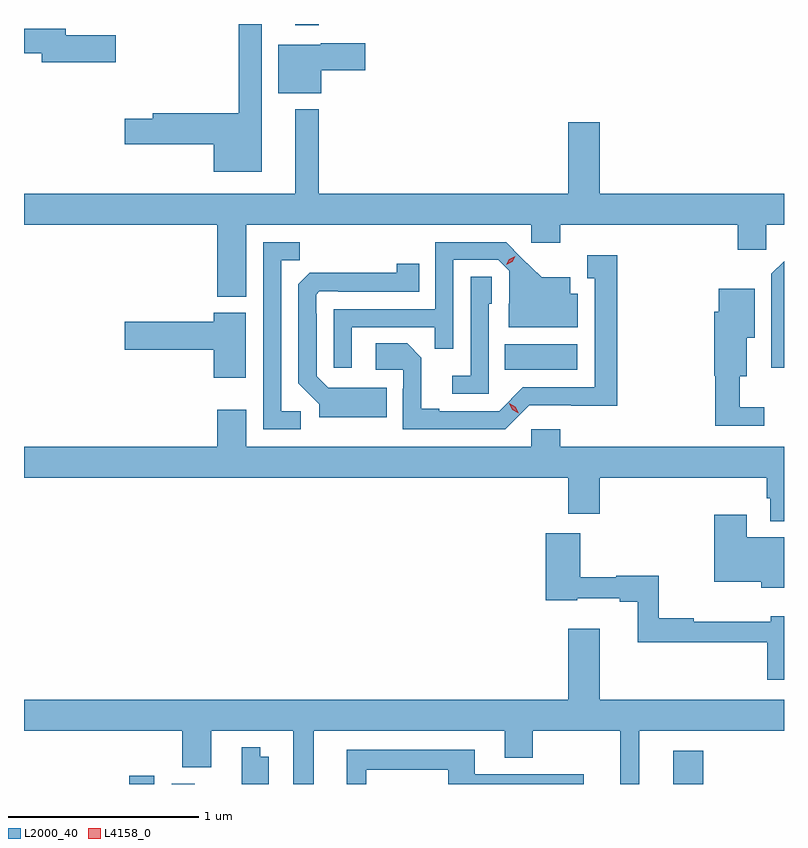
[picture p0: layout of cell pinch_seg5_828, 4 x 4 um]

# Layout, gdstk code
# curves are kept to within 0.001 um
import gdstk
lib = gdstk.Library(unit=1e-6, precision=1e-09)
def R(c, l, rs):  # rectangles x0, y0, x1, y1
    for r in rs: c.add(gdstk.rectangle(r[:2], r[2:], *l))
def P(c, l, *ps):  # polygons
    for p in ps: c.add(gdstk.Polygon(p, *l))
L2000_40 = (2000, 40)
L4158_0 = (4158, 0)

pinch_seg5_828 = lib.new_cell('pinch_seg5_828')
R(pinch_seg5_828, L2000_40, [(786.074,873.797,786.205,873.841), (786.296,873.797,786.418,873.799), (788.936,873.797,789.095,873.973), (788.05,875.978,788.431,876.112), (786.947,877.791,787.069,877.797)])
P(pinch_seg5_828, L2000_40, [(786.769,877.797),(786.648,877.797),(786.648,877.328),(786.197,877.328),(786.197,877.298),(786.048,877.298),(786.048,877.163),(786.518,877.163),(786.518,877.019),(786.769,877.019)],
  [(786.001,877.737),(785.74,877.737),(785.74,877.771),(785.519,877.771),(785.519,877.642),(785.612,877.642),(785.612,877.595),(786.001,877.595)],
  [(787.084,877.553),(787.315,877.553),(787.315,877.695),(787.08,877.695),(787.08,877.687),(786.857,877.687),(786.857,877.433),(787.084,877.433)],
  [(786.688,876.74),(788.19,876.74),(788.19,876.645),(788.342,876.645),(788.342,876.74),(789.275,876.74),(789.275,876.609),(789.426,876.609),(789.426,876.74),(789.519,876.74),(789.519,876.904),(788.548,876.904),(788.548,877.279),(788.384,877.279),(788.384,876.904),(787.069,876.904),(787.069,877.348),(786.947,877.348),(786.947,876.904),(785.519,876.904),(785.519,876.74),(786.536,876.74),(786.536,876.362),(786.688,876.362)],
  [(787.245,876.201),(787.681,876.201),(787.681,876.088),(787.779,876.088),(787.779,876.555),(788.016,876.555),(788.073,876.498),(788.073,876.324),(788.069,876.324),(788.069,876.2),(788.434,876.2),(788.434,876.376),(788.395,876.376),(788.395,876.463),(788.243,876.463),(788.056,876.648),(787.683,876.648),(787.683,876.297),(787.149,876.297),(787.149,875.988),(787.245,875.988)],
  [(786.976,875.76),(786.873,875.76),(786.873,876.553),(786.969,876.553),(786.969,876.648),(786.777,876.648),(786.777,875.664),(786.976,875.664)],
  [(788.178,875.79),(788.641,875.789),(788.641,876.58),(788.483,876.58),(788.483,876.459),(788.522,876.459),(788.522,875.886),(788.145,875.886),(788.019,875.76),(787.705,875.76),(787.705,875.773),(787.611,875.773),(787.611,876.04),(787.535,876.116),(787.371,876.116),(787.371,875.976),(787.515,875.976),(787.515,875.876),(787.512,875.876),(787.512,875.664),(788.052,875.664)],
  [(789.519,876.549),(789.453,876.483),(789.453,875.988),(789.519,875.988)],
  [(787.427,875.883),(787.119,875.883),(787.059,875.943),(787.059,876.272),(787.056,876.272),(787.056,876.372),(787.074,876.39),(787.174,876.39),(787.174,876.387),(787.598,876.387),(787.598,876.535),(787.48,876.535),(787.48,876.488),(787.022,876.487),(786.963,876.428),(786.963,875.906),(787.073,875.796),(787.073,875.726),(787.427,875.726)],
  [(787.965,876.324),(787.98,876.324),(787.98,876.467),(787.869,876.467),(787.869,875.947),(787.773,875.947),(787.773,875.85),(787.965,875.85)],
  [(789.415,875.779),(789.286,875.779),(789.286,875.942),(789.322,875.942),(789.322,876.146),(789.364,876.146),(789.364,876.403),(789.176,876.403),(789.176,876.282),(789.152,876.282),(789.152,875.946),(789.157,875.946),(789.157,875.682),(789.415,875.682)],
  [(786.685,876.277),(786.518,876.277),(786.518,876.23),(786.048,876.23),(786.048,876.083),(786.518,876.083),(786.518,875.934),(786.685,875.934)],
  [(789.519,875.572),(788.342,875.572),(788.342,875.665),(788.19,875.665),(788.19,875.572),(786.688,875.572),(786.688,875.767),(786.536,875.767),(786.536,875.572),(785.519,875.572),(785.519,875.408),(788.384,875.408),(788.384,875.22),(788.548,875.22),(788.548,875.408),(789.427,875.408),(789.427,875.302),(789.447,875.302),(789.447,875.18),(789.519,875.18)],
  [(789.519,875.095),(789.322,875.095),(789.322,875.215),(789.152,875.215),(789.152,874.862),(789.398,874.862),(789.398,874.829),(789.519,874.829)],
  [(789.519,874.681),(789.449,874.681),(789.449,874.652),(789.044,874.652),(789.044,874.67),(788.86,874.67),(788.86,874.892),(788.637,874.892),(788.637,874.885),(788.447,874.885),(788.447,875.116),(788.264,875.116),(788.264,874.763),(788.43,874.763),(788.43,874.775),(788.654,874.775),(788.654,874.756),(788.75,874.756),(788.75,874.542),(789.43,874.542),(789.43,874.347),(789.519,874.347)],
  [(787.045,874.076),(788.048,874.076),(788.048,873.934),(788.196,873.934),(788.196,874.076),(788.657,874.076),(788.657,873.797),(788.756,873.797),(788.756,874.076),(789.519,874.076),(789.519,874.24),(788.548,874.24),(788.548,874.615),(788.384,874.615),(788.384,874.24),(785.519,874.24),(785.519,874.076),(786.353,874.076),(786.353,873.884),(786.505,873.884),(786.505,874.076),(786.935,874.076),(786.935,873.797),(787.045,873.797)],
  [(786.808,873.94),(786.763,873.94),(786.763,873.991),(786.666,873.991),(786.666,873.797),(786.808,873.797)],
  [(787.321,873.872),(787.751,873.872),(787.751,873.797),(788.465,873.797),(788.465,873.849),(787.891,873.849),(787.891,873.976),(787.217,873.976),(787.217,873.797),(787.321,873.797)])
P(pinch_seg5_828, L4158_0, [(788.122,875.749),(788.09,875.767),(788.072,875.8),(788.072,875.8),(788.073,875.8),(788.104,875.782),(788.122,875.749),(788.122,875.749)],
  [(788.057,876.53),(788.057,876.531),(788.074,876.56),(788.105,876.575),(788.105,876.575),(788.105,876.575),(788.088,876.545),(788.057,876.53)])

lib.write_gds('pinch_seg5_828.gds')
